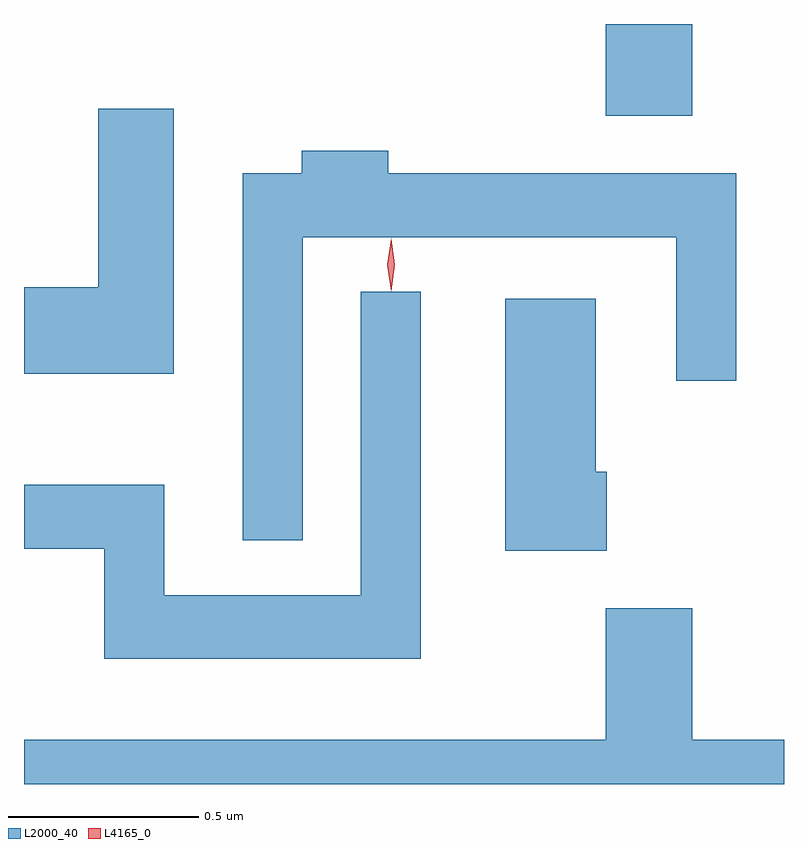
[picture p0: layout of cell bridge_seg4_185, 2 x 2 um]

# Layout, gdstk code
import gdstk
lib = gdstk.Library(unit=1e-6, precision=1e-09)
def R(c, l, rs):  # rectangles x0, y0, x1, y1
    for r in rs: c.add(gdstk.rectangle(r[:2], r[2:], *l))
def P(c, l, *ps):  # polygons
    for p in ps: c.add(gdstk.Polygon(p, *l))
L2000_40 = (2000, 40)
L4165_0 = (4165, 0)

bridge_seg4_185 = lib.new_cell('bridge_seg4_185')
R(bridge_seg4_185, L2000_40, [(1079.471,1258.906,1079.699,1259.147)])
P(bridge_seg4_185, L2000_40, [(1078.334,1258.924),(1078.136,1258.924),(1078.136,1258.454),(1077.941,1258.454),(1077.941,1258.226),(1078.334,1258.226)],
  [(1078.674,1258.586),(1079.656,1258.586),(1079.656,1258.208),(1079.814,1258.208),(1079.814,1258.754),(1078.899,1258.754),(1078.899,1258.814),(1078.671,1258.814),(1078.671,1258.754),(1078.516,1258.754),(1078.516,1257.788),(1078.674,1257.788)],
  [(1078.984,1258.443),(1078.826,1258.443),(1078.826,1257.644),(1078.309,1257.644),(1078.309,1257.934),(1077.94,1257.934),(1077.94,1257.766),(1078.151,1257.766),(1078.151,1257.476),(1078.984,1257.476)],
  [(1079.474,1257.969),(1079.444,1257.969),(1079.444,1258.424),(1079.206,1258.424),(1079.206,1257.761),(1079.474,1257.761)],
  [(1079.94,1257.264),(1079.699,1257.264),(1079.699,1257.609),(1079.471,1257.609),(1079.471,1257.264),(1077.94,1257.264),(1077.94,1257.147),(1079.94,1257.147)])
P(bridge_seg4_185, L4165_0, [(1078.906,1258.447),(1078.906,1258.447),(1078.896,1258.514),(1078.906,1258.58),(1078.906,1258.581),(1078.907,1258.58),(1078.916,1258.514),(1078.907,1258.447)],
  [(1078.906,1258.444),(1078.906,1258.444),(1078.896,1258.513),(1078.906,1258.582),(1078.906,1258.583),(1078.907,1258.582),(1078.916,1258.513),(1078.907,1258.444)])

lib.write_gds('bridge_seg4_185.gds')
